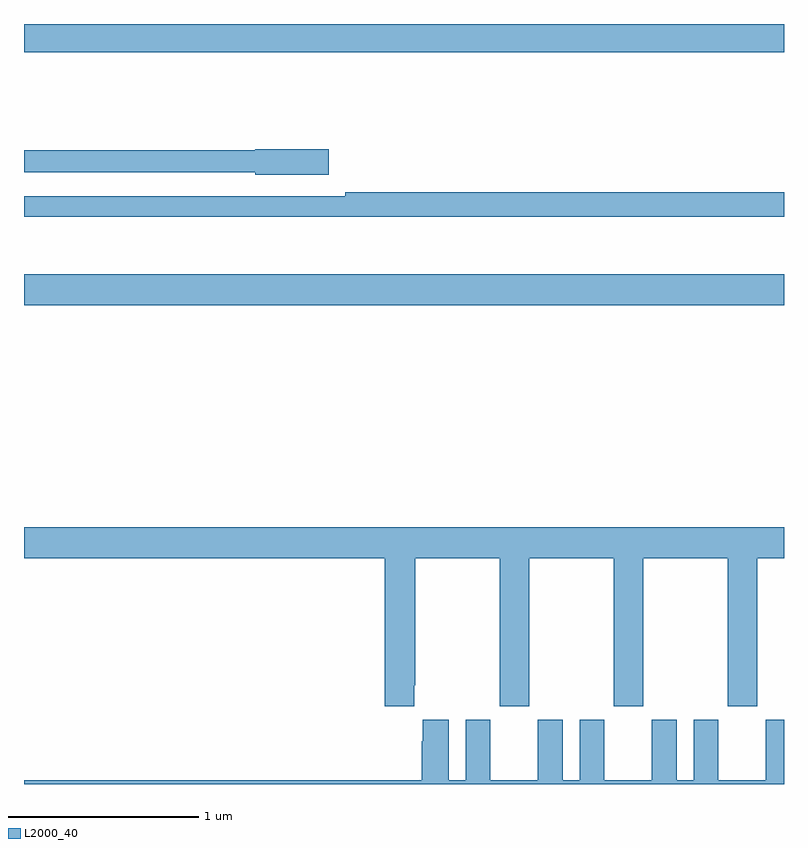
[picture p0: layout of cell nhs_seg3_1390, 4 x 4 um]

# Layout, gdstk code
import gdstk
lib = gdstk.Library(unit=1e-6, precision=1e-09)
def R(c, l, rs):  # rectangles x0, y0, x1, y1
    for r in rs: c.add(gdstk.rectangle(r[:2], r[2:], *l))
def P(c, l, *ps):  # polygons
    for p in ps: c.add(gdstk.Polygon(p, *l))
L2000_40 = (2000, 40)

nhs_seg3_1390 = lib.new_cell('nhs_seg3_1390')
R(nhs_seg3_1390, L2000_40, [(183,696.92,187,697.084), (183,698.252,187,698.4)])
P(nhs_seg3_1390, L2000_40, [(184.603,697.742),(184.218,697.742),(184.218,697.736),(183,697.736),(183,697.62),(184.218,697.62),(184.218,697.607),(184.603,697.607)],
  [(187,697.514),(184.69,697.514),(184.69,697.494),(183,697.494),(183,697.386),(187,697.386)],
  [(183,695.588),(184.898,695.588),(184.898,694.809),(185.053,694.809),(185.053,694.921),(185.058,694.921),(185.058,695.588),(185.503,695.588),(185.503,694.809),(185.658,694.809),(185.658,695.588),(186.103,695.588),(186.103,694.809),(186.258,694.809),(186.258,695.588),(186.703,695.588),(186.703,694.809),(186.858,694.809),(186.858,695.588),(187,695.588),(187,695.752),(183,695.752)],
  [(187,694.738),(186.905,694.738),(186.905,694.42),(186.655,694.42),(186.655,694.738),(186.524,694.738),(186.524,694.42),(186.436,694.42),(186.436,694.738),(186.305,694.738),(186.305,694.42),(186.055,694.42),(186.055,694.738),(185.924,694.738),(185.924,694.42),(185.836,694.42),(185.836,694.738),(185.705,694.738),(185.705,694.42),(185.455,694.42),(185.455,694.738),(185.324,694.738),(185.324,694.42),(185.236,694.42),(185.236,694.738),(185.099,694.738),(185.099,694.625),(185.093,694.625),(185.093,694.42),(183,694.42),(183,694.4),(187,694.4)])

lib.write_gds('nhs_seg3_1390.gds')
